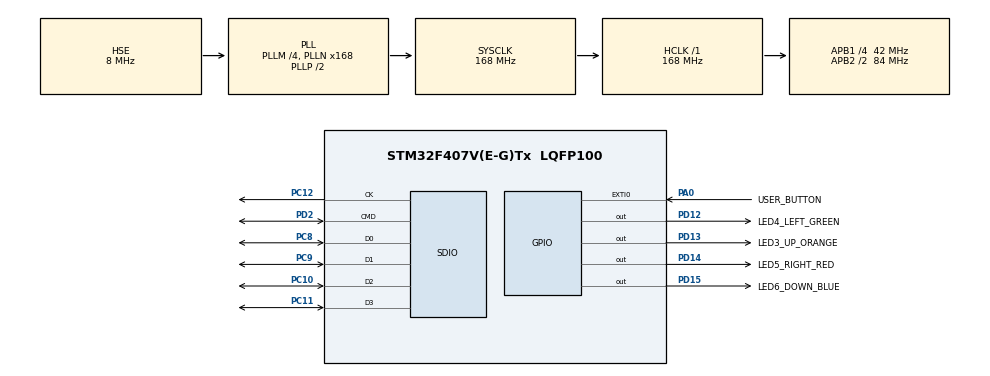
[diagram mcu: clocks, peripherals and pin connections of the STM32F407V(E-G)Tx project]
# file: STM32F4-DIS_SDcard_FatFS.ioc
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Mcu.Family=STM32F4
Mcu.Name=STM32F407V(E-G)Tx
Mcu.Package=LQFP100
NVIC.EXTI0_IRQn=true\:0\:0\:false\:false\:true
NVIC.PriorityGroup=NVIC_PRIORITYGROUP_4
PA0-WKUP.GPIO_Label=USER_BUTTON
PA0-WKUP.Signal=GPXTI0
PA13.Mode=Serial_Wire
PA13.Signal=SYS_JTMS-SWDIO
PA14.Mode=Serial_Wire
PA14.Signal=SYS_JTCK-SWCLK
PC10.Mode=SD_4_bits_Wide_bus
PC10.Signal=SDIO_D2
PC11.Mode=SD_4_bits_Wide_bus
PC11.Signal=SDIO_D3
PC12.Mode=SD_4_bits_Wide_bus
PC12.Signal=SDIO_CK
PC8.Mode=SD_4_bits_Wide_bus
PC8.Signal=SDIO_D0
PC9.Mode=SD_4_bits_Wide_bus
PC9.Signal=SDIO_D1
PD12.GPIO_Label=LED4_LEFT_GREEN
PD12.Signal=GPIO_Output
PD13.GPIO_Label=LED3_UP_ORANGE
PD13.Signal=GPIO_Output
PD14.GPIO_Label=LED5_RIGHT_RED
PD14.Signal=GPIO_Output
PD15.GPIO_Label=LED6_DOWN_BLUE
PD15.Signal=GPIO_Output
PD2.Mode=SD_4_bits_Wide_bus
PD2.Signal=SDIO_CMD
PH0-OSC_IN.Mode=HSE-External-Oscillator
PH0-OSC_IN.Signal=RCC_OSC_IN
PH1-OSC_OUT.Mode=HSE-External-Oscillator
PH1-OSC_OUT.Signal=RCC_OSC_OUT
ProjectManager.HeapSize=0x400
ProjectManager.StackSize=0x800
ProjectManager.TargetToolchain=EWARM
RCC.48MHZClocksFreq_Value=48000000
RCC.AHBFreq_Value=168000000
RCC.APB1CLKDivider=RCC_HCLK_DIV4
RCC.APB1Freq_Value=42000000
RCC.APB1TimFreq_Value=84000000
RCC.APB2CLKDivider=RCC_HCLK_DIV2
RCC.APB2Freq_Value=84000000
RCC.APB2TimFreq_Value=168000000
RCC.CortexFreq_Value=168000000
RCC.HCLKFreq_Value=168000000
RCC.HSE_VALUE=8000000
RCC.HSI_VALUE=16000000
RCC.LSE_VALUE=32768
RCC.PLLM=4
RCC.PLLN=168
RCC.PLLQ=7
RCC.PLLSourceVirtual=RCC_PLLSOURCE_HSE
RCC.SYSCLKFreq_VALUE=168000000
RCC.SYSCLKSource=RCC_SYSCLKSOURCE_PLLCLK
RCC.VCOOutputFreq_Value=336000000
SDIO.ClockDiv=0
VP_FATFS_VS_SDIO.Mode=SDIO
board=STM32F4-DIS_SDcard_FatFS

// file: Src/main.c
/**
  ******************************************************************************
  * File Name          : main.c
  * Description        : Main program body
  ******************************************************************************
  * This notice applies to any and all portions of this file
  * that are not between comment pairs USER CODE BEGIN and
  * USER CODE END. Other portions of this file, whether
  * inserted by the user or by software development tools
  * are owned by their respective copyright owners.
  *
  * Copyright (c) 2017 STMicroelectronics International N.V.
  * All rights reserved.
  *
  * Redistribution and use in source and binary forms, with or without
  * modification, are permitted, provided that the following conditions are met:
  *
  * 1. Redistribution of source code must retain the above copyright notice,
  *    this list of conditions and the following disclaimer.
  * 2. Redistributions in binary form must reproduce the above copyright notice,
  *    this list of conditions and the following disclaimer in the documentation
  *    and/or other materials provided with the distribution.
  * 3. Neither the name of STMicroelectronics nor the names of other
  *    contributors to this software may be used to endorse or promote products
  *    derived from this software without specific written permission.
  * 4. This software, including modifications and/or derivative works of this
  *    software, must execute solely and exclusively on microcontroller or
  *    microprocessor devices manufactured by or for STMicroelectronics.
  * 5. Redistribution and use of this software other than as permitted under
  *    this license is void and will automatically terminate your rights under
  *    this license.
  *
  * THIS SOFTWARE IS PROVIDED BY STMICROELECTRONICS AND CONTRIBUTORS "AS IS"
  * AND ANY EXPRESS, IMPLIED OR STATUTORY WARRANTIES, INCLUDING, BUT NOT
  * LIMITED TO, THE IMPLIED WARRANTIES OF MERCHANTABILITY, FITNESS FOR A
  * PARTICULAR PURPOSE AND NON-INFRINGEMENT OF THIRD PARTY INTELLECTUAL PROPERTY
  * RIGHTS ARE DISCLAIMED TO THE FULLEST EXTENT PERMITTED BY LAW. IN NO EVENT
  * SHALL STMICROELECTRONICS OR CONTRIBUTORS BE LIABLE FOR ANY DIRECT, INDIRECT,
  * INCIDENTAL, SPECIAL, EXEMPLARY, OR CONSEQUENTIAL DAMAGES (INCLUDING, BUT NOT
  * LIMITED TO, PROCUREMENT OF SUBSTITUTE GOODS OR SERVICES; LOSS OF USE, DATA,
  * OR PROFITS; OR BUSINESS INTERRUPTION) HOWEVER CAUSED AND ON ANY THEORY OF
  * LIABILITY, WHETHER IN CONTRACT, STRICT LIABILITY, OR TORT (INCLUDING
  * NEGLIGENCE OR OTHERWISE) ARISING IN ANY WAY OUT OF THE USE OF THIS SOFTWARE,
  * EVEN IF ADVISED OF THE POSSIBILITY OF SUCH DAMAGE.
  *
  ******************************************************************************
  */
#include "main.h"
#include "stm32f4xx_hal.h"
#include "fatfs.h"
#include "sdio.h"
#include "gpio.h"

/* USER CODE BEGIN Includes */
//------------------------------------------------------------------------------
/* Projeto    : STM32F4-DIS_SDcard_FatFS
 * MCU        : STM32F407VG (STM32F4-DISCOVERY)
 * Copyright  : Atribuição (CC BY 4.0) Diego Moreno
 * Versão     : 1.0.0
 * Data	      : 15/02/2017
 * Descrição  : Cria um arquivo TXT em um SDCard conectado na placa
 *              STM32F4-DISCOVERY com a STM32F4DIS-BB.
 */

/* Includes */

//------------------------------------------------------------------------------
/* USER CODE END Includes */

/* USER CODE BEGIN PV */
/* Private variables ---------------------------------------------------------*/

//SD Variables
FATFS SDFatFs;                                  //File system object for SD disk logical drive
FIL MyFileSD;                                   //File object
extern char SD_Path[4];                         //SD logical drive path
FRESULT res;                                    //FatFs function common result code
uint32_t byteswritten, bytesread;               //File write/read counts
uint8_t wtext[] = "Congrats, it's working :)";  //File write buffer
uint8_t rtext[100];                             //File read buffer

/* USER CODE END PV */

void SystemClock_Config(void);

/* USER CODE BEGIN PFP */
/* Private function prototypes -----------------------------------------------*/
void uSD_Application(void);
/* USER CODE END PFP */

int main(void)
{

  /* MCU Configuration----------------------------------------------------------*/

  /* Reset of all peripherals, Initializes the Flash interface and the Systick. */
  HAL_Init();

  /* Configure the system clock */
  SystemClock_Config();

  /* Initialize all configured peripherals */
  MX_GPIO_Init();
  MX_FATFS_Init();
  MX_SDIO_SD_Init();

  /* USER CODE BEGIN 2 */

  //Unlink USB disk Drivers
  FATFS_UnLinkDriver(SD_Path);

  uSD_Application();

  /* USER CODE END 2 */

  /* Infinite loop */
  while (1)
  {

  }

}

/** System Clock Configuration
*/
void SystemClock_Config(void)
{

  RCC_OscInitTypeDef RCC_OscInitStruct;
  RCC_ClkInitTypeDef RCC_ClkInitStruct;

    /**Configure the main internal regulator output voltage
    */
  __HAL_RCC_PWR_CLK_ENABLE();

  __HAL_PWR_VOLTAGESCALING_CONFIG(PWR_REGULATOR_VOLTAGE_SCALE1);

    /**Initializes the CPU, AHB and APB busses clocks
    */
  RCC_OscInitStruct.OscillatorType = RCC_OSCILLATORTYPE_HSE;
  RCC_OscInitStruct.HSEState = RCC_HSE_ON;
  RCC_OscInitStruct.PLL.PLLState = RCC_PLL_ON;
  RCC_OscInitStruct.PLL.PLLSource = RCC_PLLSOURCE_HSE;
  RCC_OscInitStruct.PLL.PLLM = 4;
  RCC_OscInitStruct.PLL.PLLN = 168;
  RCC_OscInitStruct.PLL.PLLP = RCC_PLLP_DIV2;
  RCC_OscInitStruct.PLL.PLLQ = 7;
  if (HAL_RCC_OscConfig(&RCC_OscInitStruct) != HAL_OK)
  {
    _Error_Handler(__FILE__, __LINE__);
  }

    /**Initializes the CPU, AHB and APB busses clocks
    */
  RCC_ClkInitStruct.ClockType = RCC_CLOCKTYPE_HCLK|RCC_CLOCKTYPE_SYSCLK
                              |RCC_CLOCKTYPE_PCLK1|RCC_CLOCKTYPE_PCLK2;
  RCC_ClkInitStruct.SYSCLKSource = RCC_SYSCLKSOURCE_PLLCLK;
  RCC_ClkInitStruct.AHBCLKDivider = RCC_SYSCLK_DIV1;
  RCC_ClkInitStruct.APB1CLKDivider = RCC_HCLK_DIV4;
  RCC_ClkInitStruct.APB2CLKDivider = RCC_HCLK_DIV2;

  if (HAL_RCC_ClockConfig(&RCC_ClkInitStruct, FLASH_LATENCY_5) != HAL_OK)
  {
    _Error_Handler(__FILE__, __LINE__);
  }

    /**Configure the Systick interrupt time
    */
  HAL_SYSTICK_Config(HAL_RCC_GetHCLKFreq()/1000);

    /**Configure the Systick
    */
  HAL_SYSTICK_CLKSourceConfig(SYSTICK_CLKSOURCE_HCLK);

  /* SysTick_IRQn interrupt configuration */
  HAL_NVIC_SetPriority(SysTick_IRQn, 0, 0);
}

/* USER CODE BEGIN 4 */

void uSD_Application(void)
{
  //Link SD disk Drivers
  FATFS_LinkDriver(&SD_Driver, SD_Path);

  //Register the file system object to the FatFs module
  if(f_mount(&SDFatFs, (TCHAR const*)SD_Path, 0) != FR_OK)
  {
    //FatFs Initialization Error
    Error_Handler();
  }
  else
  {
    //Create and Open a new text file object with write access
    if(f_open(&MyFileSD, "IT_WORKS.TXT", FA_CREATE_ALWAYS | FA_WRITE) != FR_OK)
    {
      //'IT_WORKS.TXT' file Open for write Error
      Error_Handler();
    }
    else
    {
      //Write data to the text file
      res = f_write(&MyFileSD, wtext, sizeof(wtext), (void *)&byteswritten);

      if((byteswritten == 0) || (res != FR_OK))
      {
        //'IT_WORKS.TXT' file Write or EOF Error
        Error_Handler();
      }
      else
      {
        //Close the open text file
        f_close(&MyFileSD);

        //Open the text file object with read access
        if(f_open(&MyFileSD, "IT_WORKS.TXT", FA_READ) != FR_OK)
        {
          //'IT_WORKS.TXT' file Open for read Error
          Error_Handler();
        }
        else
        {
          //Read data from the text file
          res = f_read(&MyFileSD, rtext, sizeof(rtext), (UINT*)&bytesread);

          if((bytesread == 0) || (res != FR_OK)) /* EOF or Error */
          {
            //'IT_WORKS.TXT' file Read or EOF Error
            Error_Handler();
          }
          else
          {
            //Close the open text file
            f_close(&MyFileSD);

            //Compare read data with the expected data
            if ((bytesread != byteswritten))
            {
              //Read data is different from the expected data
              Error_Handler();
            }
            else
            {
              //Success of the demo: no error occurrence: Turn LED4_GREEN ON
              HAL_GPIO_WritePin(GPIOD, LED4_LEFT_GREEN_Pin, GPIO_PIN_SET);
            }
          }
        }
      }
    }
  }

  //Unlink USB disk Drivers
  FATFS_UnLinkDriver(SD_Path);
}

/* USER CODE END 4 */

void _Error_Handler(char * file, int line)
{
  /* USER CODE BEGIN Error_Handler_Debug */
  /* User can add his own implementation to report the HAL error return state */

  //Turn LED5_RIGHT_RED ON
  HAL_GPIO_WritePin(GPIOD, LED5_RIGHT_RED_Pin, GPIO_PIN_SET);

  while(1)
  {
  }
  /* USER CODE END Error_Handler_Debug */
}

/************************ (C) COPYRIGHT STMicroelectronics *****END OF FILE****/
